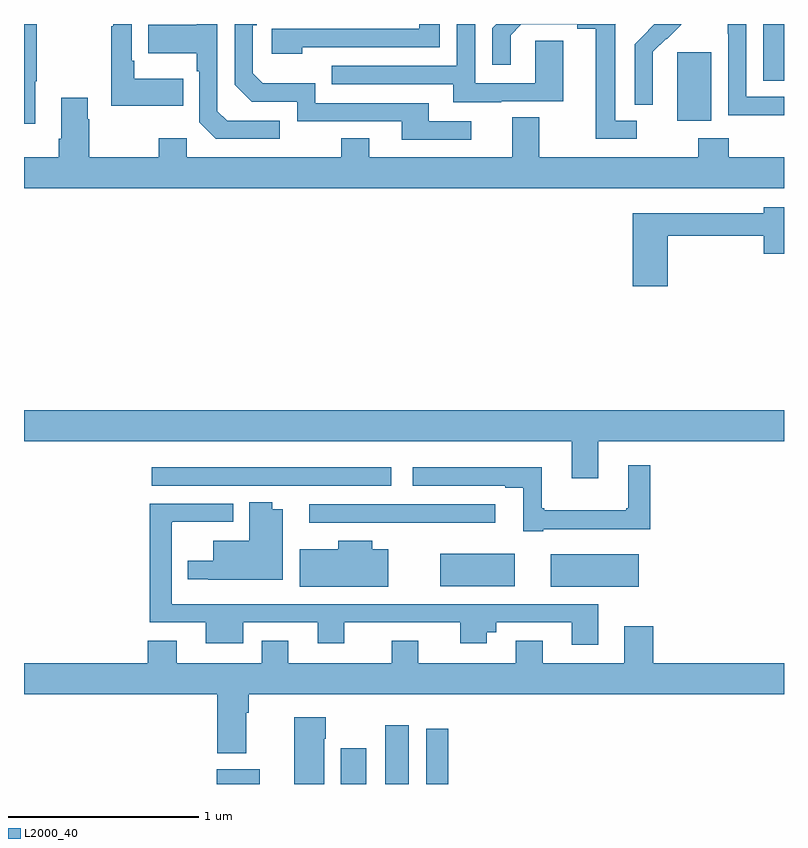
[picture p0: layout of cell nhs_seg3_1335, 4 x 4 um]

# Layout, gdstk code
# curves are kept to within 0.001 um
import gdstk
lib = gdstk.Library(unit=1e-6, precision=1e-09)
def R(c, l, rs):  # rectangles x0, y0, x1, y1
    for r in rs: c.add(gdstk.rectangle(r[:2], r[2:], *l))
def P(c, l, *ps):  # polygons
    for p in ps: c.add(gdstk.Polygon(p, *l))
L2000_40 = (2000, 40)

nhs_seg3_1335 = lib.new_cell('nhs_seg3_1335')
R(nhs_seg3_1335, L2000_40, [(180.014,744.4,180.241,744.478), (180.668,744.4,180.802,744.589), (180.902,744.4,181.024,744.709), (181.116,744.4,181.232,744.691), (181.772,745.439,182.236,745.609), (181.19,745.442,181.582,745.612), (179.673,745.971,180.934,746.068), (182.438,747.89,182.617,748.251), (182.891,748.102,183,748.4)])
P(nhs_seg3_1335, L2000_40, [(182.224,747.891),(182.113,747.891),(182.114,748.4),(181.486,748.4),(181.464,748.378),(181.464,748.185),(181.561,748.185),(181.561,748.341),(181.618,748.398),(181.913,748.398),(181.913,748.376),(182.009,748.376),(182.009,747.795),(182.224,747.795)],
  [(179.837,748.111),(179.581,748.111),(179.581,748.207),(179.568,748.207),(179.568,748.4),(179.471,748.4),(179.471,748.387),(179.46,748.387),(179.46,747.971),(179.837,747.971)],
  [(183,748.017),(182.802,748.017),(182.802,748.4),(182.704,748.4),(182.704,748.348),(182.706,748.348),(182.706,747.919),(183,747.919)],
  [(182.31,748.13),(182.309,748.253),(182.379,748.323),(182.382,748.32),(182.459,748.397),(182.459,748.4),(182.318,748.4),(182.214,748.294),(182.214,747.976),(182.31,747.976)],
  [(180.464,748.278),(181.188,748.278),(181.188,748.4),(181.079,748.4),(181.079,748.374),(180.303,748.374),(180.303,748.244),(180.464,748.244)],
  [(181.513,747.993),(181.837,747.993),(181.837,748.313),(181.692,748.313),(181.692,748.089),(181.374,748.089),(181.374,748.4),(181.278,748.4),(181.278,748.179),(180.619,748.179),(180.619,748.083),(181.259,748.083),(181.259,747.989),(181.513,747.989)],
  [(181.354,747.888),(181.129,747.888),(181.129,747.984),(180.534,747.984),(180.534,748.087),(180.257,748.087),(180.204,748.14),(180.204,748.394),(180.224,748.394),(180.224,748.4),(180.108,748.4),(180.108,748.08),(180.198,747.99),(180.438,747.99),(180.438,747.888),(180.989,747.888),(180.989,747.792),(181.354,747.792)],
  [(179.059,748.099),(179.067,748.099),(179.067,748.4),(179,748.4),(179,747.876),(179.059,747.876)],
  [(180.346,747.891),(180.069,747.891),(180.018,747.942),(180.018,748.4),(179.91,748.4),(179.91,748.395),(179.653,748.395),(179.653,748.247),(179.91,748.247),(179.91,748.151),(179.922,748.151),(179.922,747.882),(180.009,747.795),(180.346,747.795)],
  [(183,747.7),(182.708,747.7),(182.708,747.799),(182.548,747.799),(182.548,747.7),(181.711,747.7),(181.711,747.908),(181.571,747.908),(181.571,747.7),(180.817,747.7),(180.817,747.799),(180.67,747.799),(180.67,747.7),(179.856,747.7),(179.856,747.799),(179.71,747.799),(179.71,747.7),(179.343,747.7),(179.343,747.899),(179.335,747.899),(179.335,748.012),(179.195,748.012),(179.195,747.796),(179.183,747.796),(179.183,747.7),(179,747.7),(179,747.536),(183,747.536)],
  [(182.387,747.286),(182.894,747.286),(182.894,747.191),(183,747.191),(183,747.436),(182.894,747.436),(182.894,747.403),(182.204,747.403),(182.204,747.021),(182.387,747.021)],
  [(182.023,746.204),(183,746.204),(183,746.368),(179,746.368),(179,746.204),(181.883,746.204),(181.883,746.01),(182.023,746.01)],
  [(181.732,745.742),(182.297,745.742),(182.297,746.077),(182.18,746.077),(182.18,745.852),(182.169,745.852),(182.169,745.84),(181.738,745.84),(181.738,745.852),(181.726,745.852),(181.726,746.068),(181.047,746.068),(181.047,745.971),(181.532,745.971),(181.532,745.959),(181.628,745.959),(181.628,745.731),(181.732,745.731)],
  [(180.361,745.846),(180.307,745.846),(180.307,745.882),(180.185,745.882),(180.185,745.681),(179.996,745.681),(179.996,745.574),(179.863,745.574),(179.863,745.477),(179.971,745.477),(179.971,745.475),(180.361,745.475)],
  [(182.023,745.347),(179.778,745.347),(179.778,745.778),(179.78,745.778),(179.78,745.779),(180.1,745.779),(180.1,745.875),(179.662,745.875),(179.662,745.251),(179.957,745.251),(179.957,745.142),(180.154,745.142),(180.154,745.251),(180.545,745.251),(180.545,745.142),(180.685,745.142),(180.685,745.251),(181.295,745.251),(181.295,745.142),(181.435,745.142),(181.435,745.199),(181.486,745.199),(181.486,745.251),(181.883,745.251),(181.883,745.134),(182.023,745.134)],
  [(181.48,745.872),(180.501,745.872),(180.501,745.776),(180.916,745.776),(180.916,745.775),(181.48,745.775)],
  [(180.916,745.636),(180.833,745.636),(180.833,745.681),(180.655,745.681),(180.655,745.636),(180.452,745.636),(180.452,745.439),(180.916,745.439)],
  [(179.803,745.153),(179.651,745.153),(179.651,745.036),(179,745.036),(179,744.872),(180.017,744.872),(180.017,744.563),(180.169,744.563),(180.169,744.776),(180.182,744.776),(180.182,744.872),(183,744.872),(183,745.036),(182.312,745.036),(182.312,745.231),(182.159,745.231),(182.159,745.036),(181.729,745.036),(181.729,745.153),(181.589,745.153),(181.589,745.036),(181.075,745.036),(181.075,745.153),(180.935,745.153),(180.935,745.036),(180.391,745.036),(180.391,745.153),(180.251,745.153),(180.251,745.036),(179.803,745.036)],
  [(180.58,744.638),(180.588,744.638),(180.588,744.751),(180.422,744.751),(180.422,744.4),(180.58,744.4)])

lib.write_gds('nhs_seg3_1335.gds')
